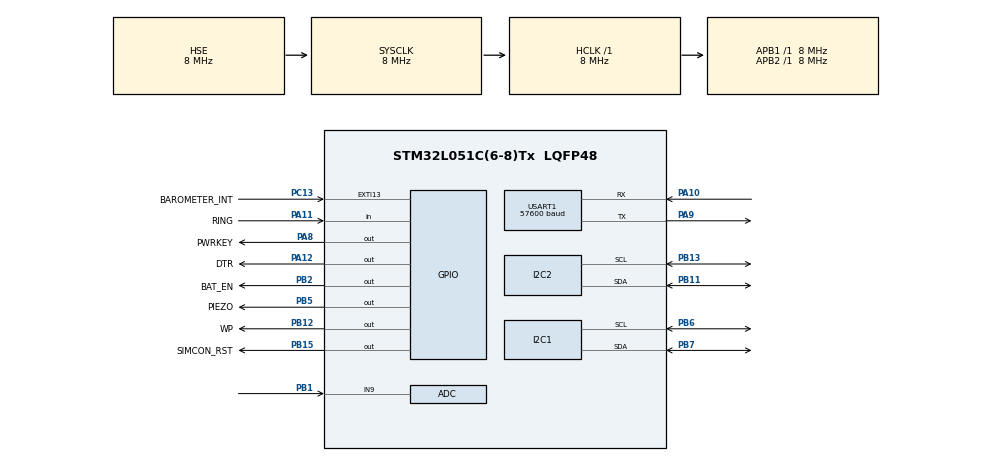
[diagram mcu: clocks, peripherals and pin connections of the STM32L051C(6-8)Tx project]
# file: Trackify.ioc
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I2C1.Timing=0x2000090E
I2C2.Timing=0x2000090E
Mcu.Family=STM32L0
Mcu.Name=STM32L051C(6-8)Tx
Mcu.Package=LQFP48
NVIC.TIM6_DAC_IRQn=true\:0\:0\:false\:false\:true\:true\:true\:true
PA10.Mode=Asynchronous
PA10.Signal=USART1_RX
PA11.GPIO_Label=RING
PA11.Signal=GPIO_Input
PA12.GPIO_Label=DTR
PA12.Signal=GPIO_Output
PA13.Mode=Serial_Wire
PA13.Signal=SYS_SWDIO
PA14.Mode=Serial_Wire
PA14.Signal=SYS_SWCLK
PA8.GPIO_Label=PWRKEY
PA8.Signal=GPIO_Output
PA9.Mode=Asynchronous
PA9.Signal=USART1_TX
PB1.Mode=IN9
PB1.Signal=ADC_IN9
PB11.Mode=I2C
PB11.Signal=I2C2_SDA
PB12.GPIO_Label=WP
PB12.Signal=GPIO_Output
PB13.Mode=I2C
PB13.Signal=I2C2_SCL
PB15.GPIO_Label=SIMCON_RST
PB15.Signal=GPIO_Output
PB2.GPIO_Label=BAT_EN
PB2.Signal=GPIO_Output
PB5.GPIO_Label=PIEZO
PB5.Signal=GPIO_Output
PB6.Mode=I2C
PB6.Signal=I2C1_SCL
PB7.Mode=I2C
PB7.Signal=I2C1_SDA
PC13.GPIO_Label=BAROMETER_INT
PC13.Signal=GPXTI13
PH0-OSC_IN.Mode=HSE-External-Oscillator
PH0-OSC_IN.Signal=RCC_OSC_IN
PH1-OSC_OUT.Mode=HSE-External-Oscillator
PH1-OSC_OUT.Signal=RCC_OSC_OUT
ProjectManager.HeapSize=0x200
ProjectManager.StackSize=0x400
ProjectManager.TargetToolchain=STM32CubeIDE
RCC.AHBFreq_Value=8000000
RCC.APB1Freq_Value=8000000
RCC.APB1TimFreq_Value=8000000
RCC.APB2Freq_Value=8000000
RCC.APB2TimFreq_Value=8000000
RCC.EnbaleCSS=true
RCC.HCLKFreq_Value=8000000
RCC.HSE_VALUE=8000000
RCC.HSI16_VALUE=16000000
RCC.HSI_VALUE=16000000
RCC.LSE_VALUE=32768
RCC.MSI_VALUE=2097000
RCC.SYSCLKFreq_VALUE=8000000
RCC.SYSCLKSource=RCC_SYSCLKSOURCE_HSE
RCC.VCOOutputFreq_Value=48000000
TIM6.Period=10
TIM6.Prescaler=100
USART1.BaudRate=57600
USART1.VirtualMode-Asynchronous=VM_ASYNC
VP_TIM6_VS_ClockSourceINT.Mode=Enable_Timer
board=custom

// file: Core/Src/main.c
/* USER CODE BEGIN Header */
/**
  ******************************************************************************
  * @file           : main.c
  * @brief          : Main program body
  ******************************************************************************
  * @attention
  *
  * Copyright (c) 2022 STMicroelectronics.
  * All rights reserved.
  *
  * This software is licensed under terms that can be found in the LICENSE file
  * in the root directory of this software component.
  * If no LICENSE file comes with this software, it is provided AS-IS.
  *
  ******************************************************************************
  */
/* USER CODE END Header */
#include "main.h"

 ADC_HandleTypeDef hadc;

I2C_HandleTypeDef hi2c1;
I2C_HandleTypeDef hi2c2;

TIM_HandleTypeDef htim6;

UART_HandleTypeDef huart1;

/* USER CODE BEGIN PV */
static const uint8_t DEVICE_ADDR = 0x5C << 1; // Use 8-bit address
#define LPS22HB_WHO_AM_I	0X0F //Who am I
#define LPS22HB_RES_CONF	0X1A //Normal (0) or Low current mode (1)
#define LPS22HB_CTRL_REG1	0X10 //output rate and filter settings
#define LPS22HB_CTRL_REG2	0X11 //BOOT FIFO_EN STOP_ON_FTH IF_ADD_INC I2C_DIS SWRESET One_Shot
#define LPS22HB_STATUS_REG	0X27 //Temp or Press data available bits
#define LPS22HB_PRES_OUT_XL	0X28 //XLSB
#define LPS22HB_PRES_OUT_L	0X29 //LSB
#define LPS22HB_PRES_OUT_H	0X2A //MSB
#define LPS22HB_TEMP_OUT_L	0X2B //LSB
#define LPS22HB_TEMP_OUT_H	0X2C //MSB

volatile int cnt = 0;
/* USER CODE END PV */

void SystemClock_Config(void);
static void MX_GPIO_Init(void);
static void MX_ADC_Init(void);
static void MX_I2C1_Init(void);
static void MX_I2C2_Init(void);
static void MX_USART1_UART_Init(void);
static void MX_TIM6_Init(void);

int main(void)
{

  /* MCU Configuration--------------------------------------------------------*/

  /* Reset of all peripherals, Initializes the Flash interface and the Systick. */
  HAL_Init();

  /* Configure the system clock */
  SystemClock_Config();

  /* Initialize all configured peripherals */
  MX_GPIO_Init();
  MX_ADC_Init();
  MX_I2C1_Init();
  MX_I2C2_Init();
  MX_USART1_UART_Init();
  MX_TIM6_Init();
  /* USER CODE BEGIN 2 */

  HAL_GPIO_WritePin(GPIOB, BAT_EN_Pin, GPIO_PIN_SET);
  HAL_Delay(100);// wait a bit for BJT to open
  HAL_ADC_Start(&hadc);
  HAL_ADC_PollForConversion(&hadc, HAL_MAX_DELAY);
  uint16_t raw = HAL_ADC_GetValue(&hadc);// raw ADC value
  // Test: Set GPIO pin low
  HAL_GPIO_WritePin(GPIOB, BAT_EN_Pin, GPIO_PIN_RESET);

  ///////////////////////////////////////////////////////// barometras

  uint8_t WRITE_ADDR = DEVICE_ADDR;
  uint8_t READ_ADDR = DEVICE_ADDR | 1;
  uint8_t buf[2];

  HAL_I2C_Mem_Read(&hi2c1, READ_ADDR, LPS22HB_WHO_AM_I, 1, buf, 1, HAL_MAX_DELAY); //buf[0] should be 10110011b

  //////////////////////////////////////////////////////// EEPROM

#define EEPROM_I2C_READ_ADDRESS (uint8_t)0xA1 // Read i2c Address
#define EEPROM_I2C_WRITE_ADDRESS (uint8_t)0xA0 // Write i2c Address

#define EEPROM PAGE_SIZE	16    // Page 0: 0-63, Page 2: 64-127,... writing to pages must be handled by program
                                // otherwise writing after the page border will not succed using HAL_I2C_Mem_Write_IT
#define I2C_TIMEOUT 100
#define I2C_TRIALS  300

/* Size of data to send in I2C request from Master to eeprom */
#define I2C_SEND_PACKET_LENGTH			  4
/* Size of data to receive from I2C response from Slave eeprom */
#define I2C_READ_PACKET_LENGTH		  1

  typedef struct
  {
  	uint16_t Address;  // address of EEPROM memory cell
  	int8_t Data;       // byte to write to EEPROM, or byte for read value
  } TMemoryAccessPacket;

  /* Data packet for writing to I2C memory*/
  TMemoryAccessPacket MemoryWritePacket;
  TMemoryAccessPacket MemoryReadPacket;

#define MEMORY_START_ADDRESS	0

	uint16_t MEM_Address_Start=MEMORY_START_ADDRESS; /* current address of EEPROM memory */
	uint8_t Data[1]={0x1A};// <- write any value in hex
	uint8_t buffer[1];

  MemoryWritePacket.Address=MEM_Address_Start;
  MemoryWritePacket.Data=0x1A;

  //HAL_I2C_Master_Transmit_IT(&hi2c1, (uint8_t)EEPROM_I2C_WRITE_ADDRESS, (uint8_t*)(&MemoryWritePacket), I2C_SEND_PACKET_LENGTH);
  HAL_I2C_Mem_Write(&hi2c2, EEPROM_I2C_WRITE_ADDRESS, MEM_Address_Start, 2, Data, 1, 1000);
  HAL_I2C_Mem_Read(&hi2c2, EEPROM_I2C_READ_ADDRESS, MEM_Address_Start, 2, buffer, 1, 1000);//buffer[i] sould be equal to Data[i]

  //////////////////////////////////////////////////////////// ACCELEROMETER

  uint8_t WRITE_ADDR_MC3479 = 0x4C << 1;
  uint8_t READ_ADDR_MC3479 = 0x4C << 1 | 1;

  HAL_I2C_Mem_Read(&hi2c1, READ_ADDR_MC3479, 0x4B, 1, buf, 1, HAL_MAX_DELAY); // read "read only" register with 0x06 DEFAULT VALUE

  ///////////////////////////////////////////////////////////////PIEZO_TEST//
  HAL_TIM_Base_Start_IT(&htim6);

  HAL_Delay(1000);// buzz for 1 second

  HAL_TIM_Base_Stop_IT(&htim6);

  ////////////////////////////////////////////////////////////// AT COMMANDS

  HAL_GPIO_WritePin(GPIOA, PWRKEY_Pin, GPIO_PIN_SET);// "press" Simcon power key
  HAL_Delay(100);
  HAL_GPIO_WritePin(GPIOA, PWRKEY_Pin, GPIO_PIN_RESET);
  HAL_Delay(6000);// wait for 6s to make sure boot is completed

  char data[] = "\r\nATI\r\n"; //send AT
  uint8_t response[200];// response

  HAL_UART_Transmit(&huart1, (uint8_t*)data, strlen(data) , HAL_MAX_DELAY); //Send command

  HAL_UART_Receive(&huart1, response, 200, 3000);// read AT command with model name

 /////////////////////////////////////////////////////////////// SLEEP MODE
  /*HAL_SuspendTick();

  HAL_PWR_EnableSleepOnExit ();

  //	  Enter Sleep Mode , wake up is done once User push-button is pressed
  HAL_PWR_EnterSTOPMode(PWR_LOWPOWERREGULATOR_ON, PWR_STOPENTRY_WFI);
  //HAL_PWR_EnterSLEEPMode(PWR_MAINREGULATOR_ON, PWR_SLEEPENTRY_WFI);*/

  /* USER CODE END 2 */

  /* Infinite loop */
  while (1)
  {

  }
}

void SystemClock_Config(void)
{
  RCC_OscInitTypeDef RCC_OscInitStruct = {0};
  RCC_ClkInitTypeDef RCC_ClkInitStruct = {0};
  RCC_PeriphCLKInitTypeDef PeriphClkInit = {0};

  /** Configure the main internal regulator output voltage
  */
  __HAL_PWR_VOLTAGESCALING_CONFIG(PWR_REGULATOR_VOLTAGE_SCALE1);

  /** Initializes the RCC Oscillators according to the specified parameters
  * in the RCC_OscInitTypeDef structure.
  */
  RCC_OscInitStruct.OscillatorType = RCC_OSCILLATORTYPE_HSE;
  RCC_OscInitStruct.HSEState = RCC_HSE_ON;
  RCC_OscInitStruct.PLL.PLLState = RCC_PLL_NONE;
  if (HAL_RCC_OscConfig(&RCC_OscInitStruct) != HAL_OK)
  {
    Error_Handler();
  }

  /** Initializes the CPU, AHB and APB buses clocks
  */
  RCC_ClkInitStruct.ClockType = RCC_CLOCKTYPE_HCLK|RCC_CLOCKTYPE_SYSCLK
                              |RCC_CLOCKTYPE_PCLK1|RCC_CLOCKTYPE_PCLK2;
  RCC_ClkInitStruct.SYSCLKSource = RCC_SYSCLKSOURCE_HSE;
  RCC_ClkInitStruct.AHBCLKDivider = RCC_SYSCLK_DIV1;
  RCC_ClkInitStruct.APB1CLKDivider = RCC_HCLK_DIV1;
  RCC_ClkInitStruct.APB2CLKDivider = RCC_HCLK_DIV1;

  if (HAL_RCC_ClockConfig(&RCC_ClkInitStruct, FLASH_LATENCY_0) != HAL_OK)
  {
    Error_Handler();
  }
  PeriphClkInit.PeriphClockSelection = RCC_PERIPHCLK_USART1|RCC_PERIPHCLK_I2C1;
  PeriphClkInit.Usart1ClockSelection = RCC_USART1CLKSOURCE_PCLK2;
  PeriphClkInit.I2c1ClockSelection = RCC_I2C1CLKSOURCE_PCLK1;
  if (HAL_RCCEx_PeriphCLKConfig(&PeriphClkInit) != HAL_OK)
  {
    Error_Handler();
  }

  /** Enables the Clock Security System
  */
  HAL_RCC_EnableCSS();
}

static void MX_ADC_Init(void)
{

  ADC_ChannelConfTypeDef sConfig = {0};

  /** Configure the global features of the ADC (Clock, Resolution, Data Alignment and number of conversion)
  */
  hadc.Instance = ADC1;
  hadc.Init.OversamplingMode = DISABLE;
  hadc.Init.ClockPrescaler = ADC_CLOCK_SYNC_PCLK_DIV1;
  hadc.Init.Resolution = ADC_RESOLUTION_12B;
  hadc.Init.SamplingTime = ADC_SAMPLETIME_1CYCLE_5;
  hadc.Init.ScanConvMode = ADC_SCAN_DIRECTION_FORWARD;
  hadc.Init.DataAlign = ADC_DATAALIGN_RIGHT;
  hadc.Init.ContinuousConvMode = DISABLE;
  hadc.Init.DiscontinuousConvMode = DISABLE;
  hadc.Init.ExternalTrigConvEdge = ADC_EXTERNALTRIGCONVEDGE_NONE;
  hadc.Init.ExternalTrigConv = ADC_SOFTWARE_START;
  hadc.Init.DMAContinuousRequests = DISABLE;
  hadc.Init.EOCSelection = ADC_EOC_SINGLE_CONV;
  hadc.Init.Overrun = ADC_OVR_DATA_PRESERVED;
  hadc.Init.LowPowerAutoWait = DISABLE;
  hadc.Init.LowPowerFrequencyMode = DISABLE;
  hadc.Init.LowPowerAutoPowerOff = DISABLE;
  if (HAL_ADC_Init(&hadc) != HAL_OK)
  {
    Error_Handler();
  }

  /** Configure for the selected ADC regular channel to be converted.
  */
  sConfig.Channel = ADC_CHANNEL_9;
  sConfig.Rank = ADC_RANK_CHANNEL_NUMBER;
  if (HAL_ADC_ConfigChannel(&hadc, &sConfig) != HAL_OK)
  {
    Error_Handler();
  }

}

static void MX_I2C1_Init(void)
{

  hi2c1.Instance = I2C1;
  hi2c1.Init.Timing = 0x2000090E;
  hi2c1.Init.OwnAddress1 = 0;
  hi2c1.Init.AddressingMode = I2C_ADDRESSINGMODE_7BIT;
  hi2c1.Init.DualAddressMode = I2C_DUALADDRESS_DISABLE;
  hi2c1.Init.OwnAddress2 = 0;
  hi2c1.Init.OwnAddress2Masks = I2C_OA2_NOMASK;
  hi2c1.Init.GeneralCallMode = I2C_GENERALCALL_DISABLE;
  hi2c1.Init.NoStretchMode = I2C_NOSTRETCH_DISABLE;
  if (HAL_I2C_Init(&hi2c1) != HAL_OK)
  {
    Error_Handler();
  }

  /** Configure Analogue filter
  */
  if (HAL_I2CEx_ConfigAnalogFilter(&hi2c1, I2C_ANALOGFILTER_ENABLE) != HAL_OK)
  {
    Error_Handler();
  }

  /** Configure Digital filter
  */
  if (HAL_I2CEx_ConfigDigitalFilter(&hi2c1, 0) != HAL_OK)
  {
    Error_Handler();
  }

}

static void MX_I2C2_Init(void)
{

  hi2c2.Instance = I2C2;
  hi2c2.Init.Timing = 0x2000090E;
  hi2c2.Init.OwnAddress1 = 0;
  hi2c2.Init.AddressingMode = I2C_ADDRESSINGMODE_7BIT;
  hi2c2.Init.DualAddressMode = I2C_DUALADDRESS_DISABLE;
  hi2c2.Init.OwnAddress2 = 0;
  hi2c2.Init.OwnAddress2Masks = I2C_OA2_NOMASK;
  hi2c2.Init.GeneralCallMode = I2C_GENERALCALL_DISABLE;
  hi2c2.Init.NoStretchMode = I2C_NOSTRETCH_DISABLE;
  if (HAL_I2C_Init(&hi2c2) != HAL_OK)
  {
    Error_Handler();
  }

  /** Configure Analogue filter
  */
  if (HAL_I2CEx_ConfigAnalogFilter(&hi2c2, I2C_ANALOGFILTER_ENABLE) != HAL_OK)
  {
    Error_Handler();
  }

  /** Configure Digital filter
  */
  if (HAL_I2CEx_ConfigDigitalFilter(&hi2c2, 0) != HAL_OK)
  {
    Error_Handler();
  }

}

static void MX_TIM6_Init(void)
{

  TIM_MasterConfigTypeDef sMasterConfig = {0};

  htim6.Instance = TIM6;
  htim6.Init.Prescaler = 100;
  htim6.Init.CounterMode = TIM_COUNTERMODE_UP;
  htim6.Init.Period = 10;
  htim6.Init.AutoReloadPreload = TIM_AUTORELOAD_PRELOAD_DISABLE;
  if (HAL_TIM_Base_Init(&htim6) != HAL_OK)
  {
    Error_Handler();
  }
  sMasterConfig.MasterOutputTrigger = TIM_TRGO_RESET;
  sMasterConfig.MasterSlaveMode = TIM_MASTERSLAVEMODE_DISABLE;
  if (HAL_TIMEx_MasterConfigSynchronization(&htim6, &sMasterConfig) != HAL_OK)
  {
    Error_Handler();
  }

}

static void MX_USART1_UART_Init(void)
{

  huart1.Instance = USART1;
  huart1.Init.BaudRate = 57600;
  huart1.Init.WordLength = UART_WORDLENGTH_8B;
  huart1.Init.StopBits = UART_STOPBITS_1;
  huart1.Init.Parity = UART_PARITY_NONE;
  huart1.Init.Mode = UART_MODE_TX_RX;
  huart1.Init.HwFlowCtl = UART_HWCONTROL_NONE;
  huart1.Init.OverSampling = UART_OVERSAMPLING_16;
  huart1.Init.OneBitSampling = UART_ONE_BIT_SAMPLE_DISABLE;
  huart1.AdvancedInit.AdvFeatureInit = UART_ADVFEATURE_NO_INIT;
  if (HAL_UART_Init(&huart1) != HAL_OK)
  {
    Error_Handler();
  }

}

static void MX_GPIO_Init(void)
{
  GPIO_InitTypeDef GPIO_InitStruct = {0};

  /* GPIO Ports Clock Enable */
  __HAL_RCC_GPIOC_CLK_ENABLE();
  __HAL_RCC_GPIOH_CLK_ENABLE();
  __HAL_RCC_GPIOB_CLK_ENABLE();
  __HAL_RCC_GPIOA_CLK_ENABLE();

  /*Configure GPIO pin Output Level */
  HAL_GPIO_WritePin(GPIOB, BAT_EN_Pin|WP_Pin|SIMCON_RST_Pin|PIEZO_Pin, GPIO_PIN_RESET);

  /*Configure GPIO pin Output Level */
  HAL_GPIO_WritePin(GPIOA, PWRKEY_Pin|DTR_Pin, GPIO_PIN_RESET);

  /*Configure GPIO pin : BAROMETER_INT_Pin */
  GPIO_InitStruct.Pin = BAROMETER_INT_Pin;
  GPIO_InitStruct.Mode = GPIO_MODE_IT_RISING;
  GPIO_InitStruct.Pull = GPIO_NOPULL;
  HAL_GPIO_Init(BAROMETER_INT_GPIO_Port, &GPIO_InitStruct);

  /*Configure GPIO pins : BAT_EN_Pin WP_Pin SIMCON_RST_Pin PIEZO_Pin */
  GPIO_InitStruct.Pin = BAT_EN_Pin|WP_Pin|SIMCON_RST_Pin|PIEZO_Pin;
  GPIO_InitStruct.Mode = GPIO_MODE_OUTPUT_PP;
  GPIO_InitStruct.Pull = GPIO_NOPULL;
  GPIO_InitStruct.Speed = GPIO_SPEED_FREQ_LOW;
  HAL_GPIO_Init(GPIOB, &GPIO_InitStruct);

  /*Configure GPIO pins : PWRKEY_Pin DTR_Pin */
  GPIO_InitStruct.Pin = PWRKEY_Pin|DTR_Pin;
  GPIO_InitStruct.Mode = GPIO_MODE_OUTPUT_PP;
  GPIO_InitStruct.Pull = GPIO_NOPULL;
  GPIO_InitStruct.Speed = GPIO_SPEED_FREQ_LOW;
  HAL_GPIO_Init(GPIOA, &GPIO_InitStruct);

  /*Configure GPIO pin : RING_Pin */
  GPIO_InitStruct.Pin = RING_Pin;
  GPIO_InitStruct.Mode = GPIO_MODE_INPUT;
  GPIO_InitStruct.Pull = GPIO_NOPULL;
  HAL_GPIO_Init(RING_GPIO_Port, &GPIO_InitStruct);

}

/* USER CODE BEGIN 4 */
void HAL_TIM_PeriodElapsedCallback(TIM_HandleTypeDef *htim)
{
  // Check which version of the timer triggered this callback and toggle piezo
  if (htim == &htim6 )
  {
	  if(cnt<1000){
		  HAL_GPIO_TogglePin(GPIOB, PIEZO_Pin);
		  cnt++;
	  }
	  else if(cnt<1200){
		  cnt++;
	  }
	  else{
		  cnt=0;
	  }

  }
}
/* USER CODE END 4 */

void Error_Handler(void)
{
  __disable_irq();
  while (1)
  {
  }
}
